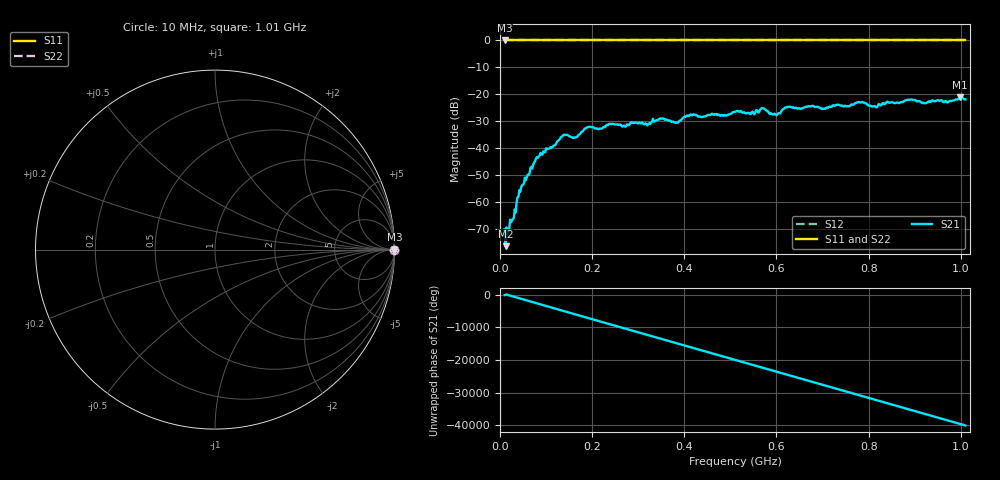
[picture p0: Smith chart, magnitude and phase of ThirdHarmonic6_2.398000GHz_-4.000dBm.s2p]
! 8/17/2025 3:56:04 AM
! C:\ANRITSUVNA\TEMP\TEMP.S2P
! CHANNEL.1
! TR.MEASUREMENT
! RAW.DATA
! RF.CORRECTION.OFF
! AVERAGING.OFF
! IF.BANDWIDTH: 5KHZ
! SWEEPTYPE:  FREQ.SWEEP(Linear)
! Reference Plane Port Info
! PORT:  PORT1  PORT2
! DISTANCE:  0  m  0  m
! TIME:  0  s  0  s
! PHASE.OFFSET:  0  deg.  0  deg.
! LOSS:  0  dB  0  dB
! REF.LOSS:  0  dB  0  dB
! REF.FREQ:  0  Hz  0  Hz
! Power Info
! POWER:  -20  dBm  -20  dBm
! EFF.POWER:  -20  dBm  -20  dBm
! SOURCE.ATTEN:  0  dB  0  dB
! TEST.ATTEN:  0  dB  0  dB
# GHZ S RI R 50.0
! FREQ.GHZ  S11RE  S11IM  S21RE  S21IM  S12RE  S12IM  S22RE  S22IM
!; PortSelection: Port_12
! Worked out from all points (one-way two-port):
!   501 points, 10 MHz to 1.01 GHz, reference 50 ohm
!   highest |S21| = -21.19 dB at 998 MHz (marker M1); lowest = -76.4 dB at 12 MHz (marker M2)
!   lowest |S11| = 0.0 dB at 10 MHz (marker M3)
!   |S11| at or under -10 dB: nowhere
!   |S22| runs from 0.0 to 0.0 dB; largest |S21 - S12| = 1.1
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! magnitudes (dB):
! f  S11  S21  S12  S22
! 10 MHz  0.0  -70.2  0.0  0.0
! 12 MHz  0.0  -76.4  0.0  0.0
! 16 MHz  0.0  -72.0  0.0  0.0
! 30 MHz  0.0  -66.0  0.0  0.0
! 46 MHz  0.0  -54.5  0.0  0.0
! 80 MHz  0.0  -43.4  0.0  0.0
! 136 MHz  0.0  -35.5  0.0  0.0
! 162 MHz  0.0  -36.2  0.0  0.0
! 178 MHz  0.0  -33.8  0.0  0.0
! 344 MHz  0.0  -29.5  0.0  0.0
! 382 MHz  0.0  -30.6  0.0  0.0
! 416 MHz  0.0  -27.8  0.0  0.0
! 510 MHz  0.0  -26.5  0.0  0.0
! 570 MHz  0.0  -25.1  0.0  0.0
! 598 MHz  0.0  -27.5  0.0  0.0
! 624 MHz  0.0  -24.6  0.0  0.0
! 678 MHz  0.0  -24.3  0.0  0.0
! 782 MHz  0.0  -23.0  0.0  0.0
! 814 MHz  0.0  -24.4  0.0  0.0
! 844 MHz  0.0  -23.1  0.0  0.0
! 998 MHz  0.0  -21.2  0.0  0.0
! 1.01 GHz  0.0  -21.9  0.0  0.0
